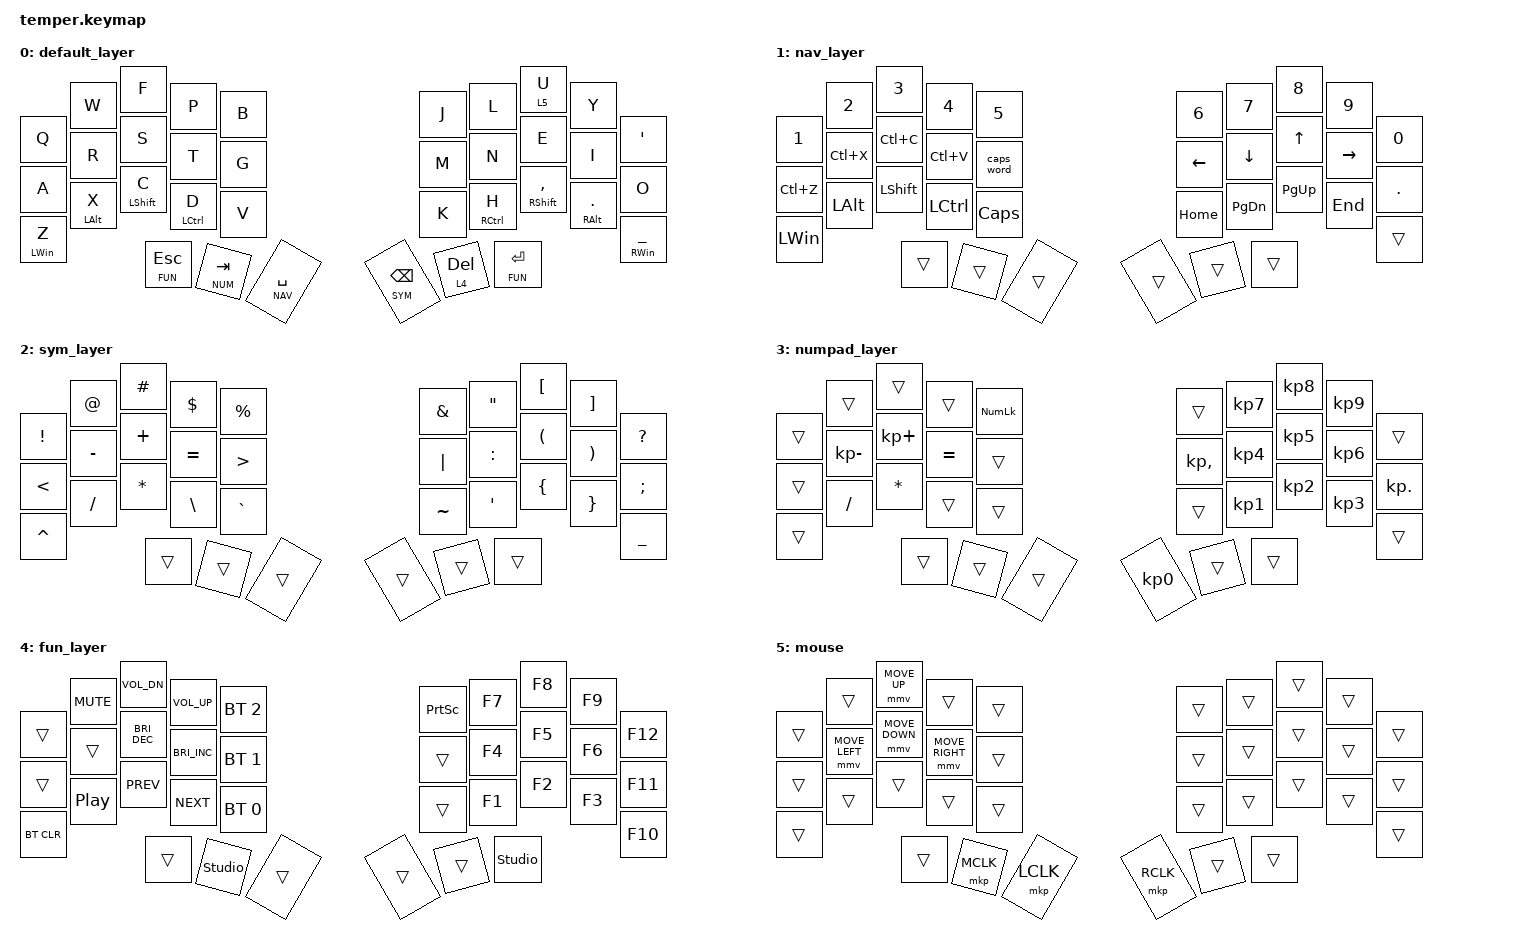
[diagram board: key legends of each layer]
/*
 * Copyright (c) 2020 The ZMK Contributors
 *
 * SPDX-License-Identifier: MIT
 */

#include <behaviors.dtsi>
#include <dt-bindings/zmk/bt.h>
#include <dt-bindings/zmk/keys.h>
#include <dt-bindings/zmk/pointing.h>

#define DEFAULT 0
#define NAV 1
#define SYM 2
#define NUM 3
#define FUN 4

/ {
    behaviors {
        hml: homerow_mod_left {
            compatible = "zmk,behavior-hold-tap";
            #binding-cells = <2>;
            flavor = "tap-preferred";
            tapping-term-ms = <200>;
            quick-tap-ms = <200>;
            require-prior-idle-ms = <200>;
            bindings = <&kp>, <&kp>;

            // Exclude likely same-hand rolls so home-row mods stay taps during normal typing.

            hold-trigger-key-positions = <5 6 8 7 9 18 17 16 15 25 26 27 28 29 19 30 31 32 33 34 35>;
            hold-trigger-on-release;
        };

        hmr: homerow_mod_right {
            compatible = "zmk,behavior-hold-tap";
            #binding-cells = <2>;
            flavor = "tap-preferred";
            tapping-term-ms = <200>;
            quick-tap-ms = <200>;
            require-prior-idle-ms = <200>;
            bindings = <&kp>, <&kp>;

            // Right-hand mirror of the same-roll exclusions above.

            hold-trigger-key-positions = <0 1 2 3 4 14 13 12 11 10 20 21 22 23 24 30 31 32 33 34 35>;
            hold-trigger-on-release;
        };

        lht: layer_hold_tap {
            compatible = "zmk,behavior-hold-tap";
            bindings = <&mo>, <&kp>;

            #binding-cells = <2>;
            quick-tap-ms = <200>;
            tapping-term-ms = <200>;
            flavor = "balanced";
        };

        coma: coma_semicolon {
            compatible = "zmk,behavior-mod-morph";
            label = "COMA";
            bindings = <&kp COMMA>, <&kp SEMICOLON>;

            #binding-cells = <0>;
            mods = <(MOD_LSFT|MOD_RSFT)>;
        };

        dot: dot_colon {
            compatible = "zmk,behavior-mod-morph";
            label = "DOT";
            bindings = <&kp DOT>, <&kp COLON>;

            #binding-cells = <0>;
            mods = <(MOD_LSFT|MOD_RSFT)>;
        };

        underscore: underscore_minus {
            compatible = "zmk,behavior-mod-morph";
            label = "UNDERSCORE";
            bindings = <&kp UNDERSCORE>, <&kp MINUS>;

            #binding-cells = <0>;
            mods = <(MOD_LSFT|MOD_RSFT)>;
        };

        htg: hold_tap_generic {
            compatible = "zmk,behavior-hold-tap";
            label = "HTG";
            bindings = <&kp>, <&kp>;

            #binding-cells = <2>;
            quick-tap-ms = <200>;
            tapping-term-ms = <200>;
            flavor = "balanced";
        };
    };

    combos {
        compatible = "zmk,combos";

        combo_accent_acute {
            bindings = <&kp LC(SQT)>;
            key-positions = <6 7>;
            require-prior-idle-ms = <200>;
        };

        combo_accent_grave {
            bindings = <&kp LC(GRAVE)>;
            key-positions = <7 8>;
            require-prior-idle-ms = <200>;
        };

        combo_accent_dots {
            bindings = <&kp LC(COLON)>;
            key-positions = <6 8>;
            require-prior-idle-ms = <200>;
        };

        combo_accent_round {
            bindings = <&kp LC(AT)>;
            key-positions = <6 7 8>;
            require-prior-idle-ms = <200>;
        };

        combo_esc {
            bindings = <&kp ESC>;
            key-positions = <1 2>;
        };

        combo_tab {
            bindings = <&kp TAB>;
            key-positions = <21 22>;
        };

        combo_enter {
            bindings = <&kp ENTER>;
            key-positions = <27 28>;
        };

        combo_sk_lshift {
            bindings = <&sk LSHFT>;
            key-positions = <12 13>;
        };

        combo_sk_rshift {
            bindings = <&sk RSHFT>;
            key-positions = <16 17>;
        };
    };

    macros {
        previous_folder: previous_folder {
            compatible = "zmk,behavior-macro";
            #binding-cells = <0>;
            bindings = <&kp DOT &kp DOT &kp BSLH>;
            label = "PREVIOUS_FOLDER";
        };
    };

    keymap {
        compatible = "zmk,keymap";

        default_layer {
            bindings = <
  &kp Q            &kp W            &kp F            &kp P         &kp B             &kp J               &kp L          &lht 5 U          &kp Y                  &kp APOS
  &kp A            &kp R            &kp S            &kp T         &kp G             &kp M               &kp N          &kp E             &kp I                  &kp O
  &hml LEFT_WIN Z  &hml LEFT_ALT X  &hml LSHIFT C    &hml LCTRL D  &kp V             &kp K               &hmr RCTRL H   &hmr RSHFT COMMA  &hmr RIGHT_ALT PERIOD  &hmr RWIN UNDERSCORE
                                    &lht FUN ESCAPE  &lht NUM TAB  &lht NAV SPACE    &lht SYM BACKSPACE  &lht 4 DELETE  &lht FUN ENTER
            >;
        };

        nav_layer {
            bindings = <
  &kp N1     &kp N2     &kp N3     &kp N4     &kp N5          &kp N6    &kp N7     &kp N8     &kp N9     &kp N0
  &kp LC(Z)  &kp LC(X)  &kp LC(C)  &kp LC(V)  &caps_word      &kp LEFT  &kp DOWN   &kp UP     &kp RIGHT  &kp PERIOD
  &kp LWIN   &kp LALT   &kp LSHFT  &kp LCTRL  &kp CAPSLOCK    &kp HOME  &kp PG_DN  &kp PG_UP  &kp END    &trans
                        &trans     &trans     &trans          &trans    &trans     &trans
            >;
        };

        sym_layer {
            bindings = <
  &kp EXCL       &kp AT     &kp HASH      &kp DLLR       &kp PRCNT           &kp AMPS   &kp DOUBLE_QUOTES  &kp LBKT  &kp RBKT  &kp QMARK
  &kp LESS_THAN  &kp MINUS  &kp PLUS      &kp EQUAL      &kp GREATER_THAN    &kp PIPE   &kp COLON          &kp LPAR  &kp RPAR  &kp SEMICOLON
  &kp CARET      &kp SLASH  &kp ASTERISK  &kp BACKSLASH  &kp GRAVE           &kp TILDE  &kp SINGLE_QUOTE   &kp LBRC  &kp RBRC  &kp UNDER
                            &trans        &trans         &trans              &trans     &trans             &trans
            >;
        };

        numpad_layer {
            bindings = <
  &trans  &trans        &trans        &trans     &kp KP_NUMLOCK    &trans        &kp KP_N7  &kp KP_N8  &kp KP_N9  &trans
  &trans  &kp KP_MINUS  &kp KP_PLUS   &kp EQUAL  &trans            &kp KP_COMMA  &kp KP_N4  &kp KP_N5  &kp KP_N6  &kp KP_DOT
  &trans  &kp SLASH     &kp ASTERISK  &trans     &trans            &trans        &kp KP_N1  &kp KP_N2  &kp KP_N3  &trans
                        &trans        &trans     &trans            &kp KP_N0     &trans     &trans
            >;
        };

        fun_layer {
            bindings = <
  &trans      &kp C_MUTE  &kp C_VOL_DN          &kp C_VOL_UP          &bt BT_SEL 2    &kp PSCRN  &kp F7  &kp F8          &kp F9  &kp F12
  &trans      &trans      &kp C_BRIGHTNESS_DEC  &kp C_BRIGHTNESS_INC  &bt BT_SEL 1    &trans     &kp F4  &kp F5          &kp F6  &kp F11
  &bt BT_CLR  &kp C_PP    &kp C_PREV            &kp C_NEXT            &bt BT_SEL 0    &trans     &kp F1  &kp F2          &kp F3  &kp F10
                          &trans                &studio_unlock        &trans          &trans     &trans  &studio_unlock
            >;
        };

        mouse {
            bindings = <
  &trans  &trans          &mmv MOVE_UP    &trans           &trans       &trans     &trans  &trans  &trans  &trans
  &trans  &mmv MOVE_LEFT  &mmv MOVE_DOWN  &mmv MOVE_RIGHT  &trans       &trans     &trans  &trans  &trans  &trans
  &trans  &trans          &trans          &trans           &trans       &trans     &trans  &trans  &trans  &trans
                          &trans          &mkp MCLK        &mkp LCLK    &mkp RCLK  &trans  &trans
            >;
        };
    };

    conditional_layers { compatible = "zmk,conditional-layers"; };
};
